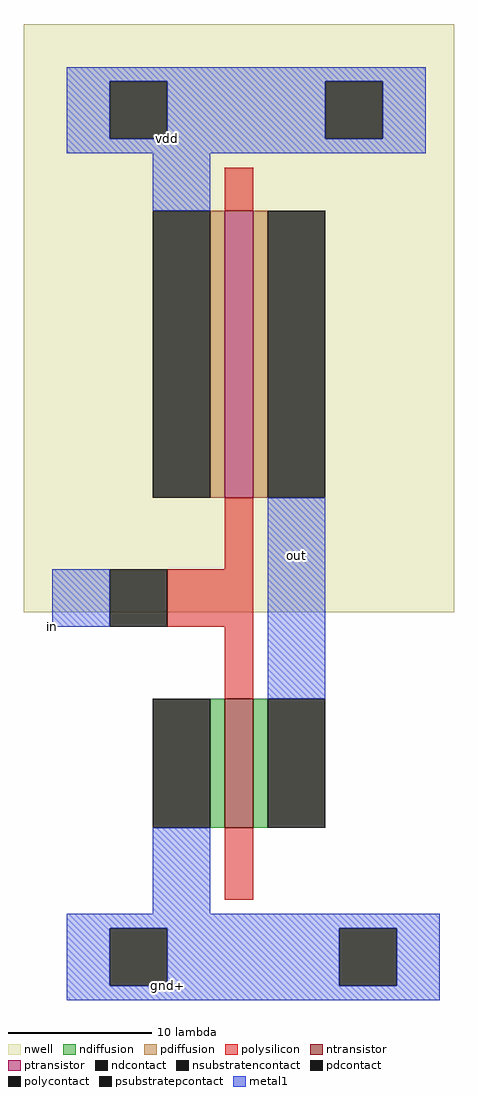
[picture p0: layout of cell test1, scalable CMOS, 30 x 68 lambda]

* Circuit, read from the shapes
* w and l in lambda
.subckt test1 gnd+ in out vdd
M1 out in gnd+ gnd+ nfet w=9 l=2
M2 out in vdd vdd pfet w=20 l=2
.ends

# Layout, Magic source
magic
tech scmos
<< nwell >>
rect -35 0 -5 41
<< ntransistor >>
rect -21 -15 -19 -6
<< ptransistor >>
rect -21 8 -19 28
<< ndiffusion >>
rect -22 -15 -21 -6
rect -19 -15 -18 -6
<< pdiffusion >>
rect -22 8 -21 28
rect -19 8 -18 28
<< ndcontact >>
rect -26 -15 -22 -6
rect -18 -15 -14 -6
<< pdcontact >>
rect -26 8 -22 28
rect -18 8 -14 28
<< psubstratepcontact >>
rect -29 -26 -25 -22
rect -13 -26 -9 -22
<< nsubstratencontact >>
rect -29 33 -25 37
rect -14 33 -10 37
<< polysilicon >>
rect -21 28 -19 31
rect -21 3 -19 8
rect -25 -1 -19 3
rect -21 -6 -19 -1
rect -21 -20 -19 -15
<< polycontact >>
rect -29 -1 -25 3
<< metal1 >>
rect -32 37 -7 38
rect -32 33 -29 37
rect -25 33 -14 37
rect -10 33 -7 37
rect -32 32 -7 33
rect -26 28 -22 32
rect -33 -1 -29 3
rect -18 -6 -14 8
rect -26 -21 -22 -15
rect -32 -22 -6 -21
rect -32 -26 -29 -22
rect -25 -26 -13 -22
rect -9 -26 -6 -22
rect -32 -27 -6 -26
<< labels >>
rlabel metal1 -33 -1 -33 -1 3 in
rlabel metal1 -25 33 -25 33 1 vdd
rlabel metal1 -16 4 -16 4 1 out
rlabel metal1 -25 -26 -25 -26 1 gnd+
<< end >>
